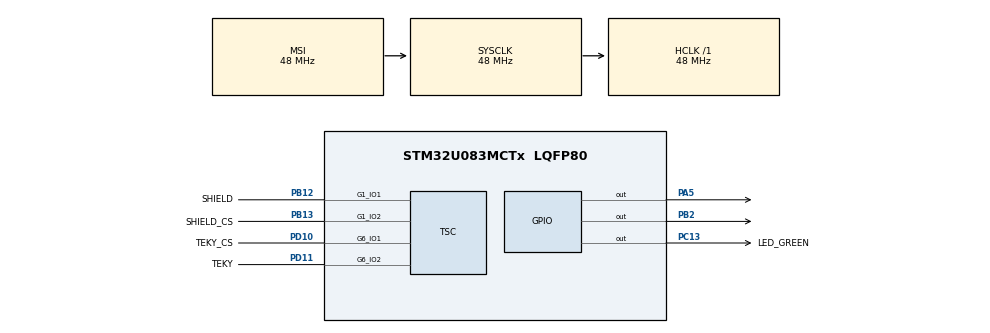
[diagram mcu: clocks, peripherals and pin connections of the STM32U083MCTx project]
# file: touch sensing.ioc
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Mcu.Family=STM32U0
Mcu.Name=STM32U083MCTx
Mcu.Package=LQFP80
NVIC.PriorityGroup=NVIC_PRIORITYGROUP_2
NVIC.TSC_IRQn=true\:0\:0\:false\:false\:true\:true\:true\:true
PA10.GPIO_Label=COM2
PA10.Signal=LCD_COM2
PA11\ [PA9].GPIO_Label=USB_DM
PA11\ [PA9].Signal=USB_DM
PA12\ [PA10].GPIO_Label=USB_DP
PA12\ [PA10].Signal=USB_DP
PA13\ (SWDIO).GPIO_Label=SWDIO
PA13\ (SWDIO).Signal=DEBUG_JTMS-SWDIO
PA14\ (SWCLK).GPIO_Label=SWCLK
PA14\ (SWCLK).Signal=DEBUG_JTCK-SWCLK
PA2.GPIO_Label=VCP_TX
PA2.Signal=USART2_TX
PA3.GPIO_Label=VCP_RX
PA3.Signal=USART2_RX
PA5.Signal=GPIO_Output
PA8.GPIO_Label=COM0
PA8.Signal=LCD_COM0
PA9.GPIO_Label=COM1
PA9.Signal=LCD_COM1
PB1.GPIO_Label=SEG2
PB1.Signal=LCD_SEG6
PB11.GPIO_Label=SEG6
PB11.Signal=LCD_SEG11
PB12.GPIO_Label=SHIELD
PB12.Mode=G1_IO1-Shield
PB12.Signal=TSC_G1_IO1
PB13.GPIO_Label=SHIELD_CS
PB13.Mode=G1_IO2-Sampling
PB13.Signal=TSC_G1_IO2
PB14.GPIO_Label=SEG7
PB14.Signal=LCD_SEG14
PB15.GPIO_Label=SEG8
PB15.Signal=LCD_SEG15
PB2.Signal=GPIO_Output
PB7.GPIO_Label=SDA
PB7.Signal=I2C1_SDA
PB8.GPIO_Label=SCL
PB8.Signal=I2C1_SCL
PB9.GPIO_Label=COM3
PB9.Signal=LCD_COM3
PC10.GPIO_Label=SEG16
PC10.Signal=LCD_SEG48
PC11.GPIO_Label=SEG23
PC11.Signal=LCD_SEG49
PC13.GPIO_Label=LED_GREEN
PC13.Signal=GPIO_Output
PC14-OSC32_IN.GPIO_Label=OSC32_IN
PC14-OSC32_IN.Signal=RCC_OSC32_IN
PC15-OSC32_OUT.GPIO_Label=OSC32_OUT
PC15-OSC32_OUT.Signal=RCC_OSC32_OUT
PC2.GPIO_Label=Joystick
PC2.Signal=ADC1_IN2
PC4.GPIO_Label=SEG0
PC4.Signal=LCD_SEG22
PC5.GPIO_Label=SEG1
PC5.Signal=LCD_SEG23
PC6.GPIO_Label=SEG13
PC6.Signal=LCD_SEG24
PC8.GPIO_Label=SEG14
PC8.Signal=LCD_SEG26
PC9.GPIO_Label=SEG15
PC9.Signal=LCD_SEG27
PD0.GPIO_Label=SEG17
PD0.Signal=LCD_SEG34
PD1.GPIO_Label=SEG18
PD1.Signal=LCD_SEG35
PD10.GPIO_Label=TEKY_CS
PD10.Mode=G6_IO1-Sampling
PD10.Signal=TSC_G6_IO1
PD11.GPIO_Label=TEKY
PD11.Mode=G6_IO2-Channel
PD11.Signal=TSC_G6_IO2
PD12.GPIO_Label=SEG11
PD12.Signal=LCD_SEG32
PD13.GPIO_Label=SEG12
PD13.Signal=LCD_SEG33
PD3.GPIO_Label=SEG19
PD3.Signal=LCD_SEG36
PD4.GPIO_Label=SEG20
PD4.Signal=LCD_SEG37
PD5.GPIO_Label=SEG21
PD5.Signal=LCD_SEG38
PD6.GPIO_Label=SEG22
PD6.Signal=LCD_SEG39
PD8.GPIO_Label=SEG9
PD8.Signal=LCD_SEG28
PD9.GPIO_Label=SEG10
PD9.Signal=LCD_SEG29
PE7.GPIO_Label=SEG3
PE7.Signal=LCD_SEG45
PE8.GPIO_Label=SEG4
PE8.Signal=LCD_SEG46
PE9.GPIO_Label=SEG5
PE9.Signal=LCD_SEG47
PF0-OSC_IN.GPIO_Label=OSC_IN
PF0-OSC_IN.Signal=RCC_OSC_IN
PF1-OSC_OUT.GPIO_Label=OSC_OUT
PF1-OSC_OUT.Signal=RCC_OSC_OUT
ProjectManager.HeapSize=0x200
ProjectManager.StackSize=0x400
ProjectManager.TargetToolchain=STM32CubeIDE
RCC.ADCFreq_Value=48000000
RCC.AHBFreq_Value=48000000
RCC.CortexFreq_Value=48000000
RCC.HCLKFreq_Value=48000000
RCC.HSE_VALUE=4000000
RCC.HSI48_VALUE=48000000
RCC.HSI_VALUE=16000000
RCC.LSE_VALUE=32768
RCC.MSIClockRangeVal=RCC_MSIRANGE_11
RCC.MSI_VALUE=48000000
RCC.SYSCLKFreq_VALUE=48000000
RCC.SYSCLKSource=RCC_SYSCLKSOURCE_MSI
RCC.USBFreq_Value=48000000
RCC.VCOOutputFreq_Value=64000000
TOUCHSENSING.IO_TOUCHKEY1=G6_IO2
TOUCHSENSING.TSLPRM_ACQ_MIN=5
TOUCHSENSING.TSLPRM_SENSORS_DATAS=TSLPRM_TOTAL_TOUCHKEYS 1 1 
TOUCHSENSING.TSLPRM_TKEY_CALIB_TH=90
TOUCHSENSING.TSLPRM_TKEY_DETECT_IN_TH=255
TOUCHSENSING.TSLPRM_TKEY_DETECT_OUT_TH=200
TOUCHSENSING.TSLPRM_TOTAL_TOUCHKEYS=1
TOUCHSENSING.TSLPRM_USE_PROX=0
TSC.CTPulseHighLength=TSC_CTPH_6CYCLES
TSC.CTPulseLowLength=TSC_CTPL_6CYCLES
TSC.ChannelIOs-G6_IO2-Channel=TSC_GROUP6_IO2
TSC.MaxCountValue=TSC_MCV_16383
TSC.SamplingIOs-G1_IO2-Sampling=TSC_GROUP1_IO2
TSC.SamplingIOs-G6_IO1-Sampling=TSC_GROUP6_IO1
TSC.ShieldIOs-G1_IO1-Shield=TSC_GROUP1_IO1
VP_PWR_VS_SECSignals.Mode=Security/Privilege
VP_TOUCHSENSING_VS_TOUCHSENSING.Mode=TouchSensing_Enabled
board=STM32U083C-DK

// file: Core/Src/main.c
/* USER CODE BEGIN Header */
/**
  ******************************************************************************
  * @file           : main.c
  * @brief          : Main program body
  ******************************************************************************
  * @attention
  *
  * Copyright (c) 2024 STMicroelectronics.
  * All rights reserved.
  *
  * This software is licensed under terms that can be found in the LICENSE file
  * in the root directory of this software component.
  * If no LICENSE file comes with this software, it is provided AS-IS.
  *
  ******************************************************************************
  */
/* USER CODE END Header */
#include "main.h"
#include "touchsensing.h"

/* USER CODE BEGIN Includes */
#include "tsl.h"
/* USER CODE END Includes */

TSC_HandleTypeDef htsc;

/* USER CODE BEGIN PV */
void Process_Sensors(tsl_user_status_t status);
/* USER CODE END PV */

void SystemClock_Config(void);
static void MX_GPIO_Init(void);
static void MX_TSC_Init(void);

int main(void)
{

  /* USER CODE BEGIN 1 */
tsl_user_status_t tsl_status;
  /* USER CODE END 1 */

  /* MCU Configuration--------------------------------------------------------*/

  /* Reset of all peripherals, Initializes the Flash interface and the Systick. */
  HAL_Init();

  /* Configure the system clock */
  SystemClock_Config();

  /* Initialize all configured peripherals */
  MX_GPIO_Init();
  MX_TSC_Init();
  MX_TOUCHSENSING_Init();
  /* USER CODE BEGIN 2 */
tsl_user_Init();
  /* USER CODE END 2 */

  /* Infinite loop */
  while (1)
  {

    /* USER CODE BEGIN 3 */
	  tsl_status = tsl_user_Exec();
	  if(tsl_status != TSL_USER_STATUS_BUSY)
	  {
		  Process_Sensors(tsl_status);
		  HAL_Delay(100);
	  }

  }
  /* USER CODE END 3 */
}

void SystemClock_Config(void)
{
  RCC_OscInitTypeDef RCC_OscInitStruct = {0};
  RCC_ClkInitTypeDef RCC_ClkInitStruct = {0};

  /** Configure the main internal regulator output voltage
  */
  HAL_PWREx_ControlVoltageScaling(PWR_REGULATOR_VOLTAGE_SCALE1);

  /** Initializes the RCC Oscillators according to the specified parameters
  * in the RCC_OscInitTypeDef structure.
  */
  RCC_OscInitStruct.OscillatorType = RCC_OSCILLATORTYPE_MSI;
  RCC_OscInitStruct.MSIState = RCC_MSI_ON;
  RCC_OscInitStruct.MSICalibrationValue = RCC_MSICALIBRATION_DEFAULT;
  RCC_OscInitStruct.MSIClockRange = RCC_MSIRANGE_11;
  RCC_OscInitStruct.PLL.PLLState = RCC_PLL_NONE;
  if (HAL_RCC_OscConfig(&RCC_OscInitStruct) != HAL_OK)
  {
    Error_Handler();
  }

  /** Initializes the CPU, AHB and APB buses clocks
  */
  RCC_ClkInitStruct.ClockType = RCC_CLOCKTYPE_HCLK|RCC_CLOCKTYPE_SYSCLK
                              |RCC_CLOCKTYPE_PCLK1;
  RCC_ClkInitStruct.SYSCLKSource = RCC_SYSCLKSOURCE_MSI;
  RCC_ClkInitStruct.AHBCLKDivider = RCC_SYSCLK_DIV1;
  RCC_ClkInitStruct.APB1CLKDivider = RCC_HCLK_DIV1;

  if (HAL_RCC_ClockConfig(&RCC_ClkInitStruct, FLASH_LATENCY_1) != HAL_OK)
  {
    Error_Handler();
  }
}

static void MX_TSC_Init(void)
{

  /** Configure the TSC peripheral
  */
  htsc.Instance = TSC;
  htsc.Init.CTPulseHighLength = TSC_CTPH_6CYCLES;
  htsc.Init.CTPulseLowLength = TSC_CTPL_6CYCLES;
  htsc.Init.SpreadSpectrum = DISABLE;
  htsc.Init.SpreadSpectrumDeviation = 1;
  htsc.Init.SpreadSpectrumPrescaler = TSC_SS_PRESC_DIV1;
  htsc.Init.PulseGeneratorPrescaler = TSC_PG_PRESC_DIV4;
  htsc.Init.MaxCountValue = TSC_MCV_16383;
  htsc.Init.IODefaultMode = TSC_IODEF_OUT_PP_LOW;
  htsc.Init.SynchroPinPolarity = TSC_SYNC_POLARITY_FALLING;
  htsc.Init.AcquisitionMode = TSC_ACQ_MODE_NORMAL;
  htsc.Init.MaxCountInterrupt = DISABLE;
  htsc.Init.ShieldIOs = TSC_GROUP1_IO1;
  htsc.Init.ChannelIOs = TSC_GROUP6_IO2;
  htsc.Init.SamplingIOs = TSC_GROUP1_IO2|TSC_GROUP6_IO1;
  if (HAL_TSC_Init(&htsc) != HAL_OK)
  {
    Error_Handler();
  }
  HAL_SYSCFG_DisableTSCComparatorMode();

}

static void MX_GPIO_Init(void)
{
  GPIO_InitTypeDef GPIO_InitStruct = {0};

  /* GPIO Ports Clock Enable */
  __HAL_RCC_GPIOC_CLK_ENABLE();
  __HAL_RCC_GPIOF_CLK_ENABLE();
  __HAL_RCC_GPIOA_CLK_ENABLE();
  __HAL_RCC_GPIOB_CLK_ENABLE();
  __HAL_RCC_GPIOE_CLK_ENABLE();
  __HAL_RCC_GPIOD_CLK_ENABLE();

  /*Configure GPIO pin Output Level */
  HAL_GPIO_WritePin(LED_GREEN_GPIO_Port, LED_GREEN_Pin, GPIO_PIN_RESET);

  /*Configure GPIO pin Output Level */
  HAL_GPIO_WritePin(GPIOA, GPIO_PIN_5, GPIO_PIN_RESET);

  /*Configure GPIO pin Output Level */
  HAL_GPIO_WritePin(GPIOB, GPIO_PIN_2, GPIO_PIN_RESET);

  /*Configure GPIO pin : LED_GREEN_Pin */
  GPIO_InitStruct.Pin = LED_GREEN_Pin;
  GPIO_InitStruct.Mode = GPIO_MODE_OUTPUT_PP;
  GPIO_InitStruct.Pull = GPIO_NOPULL;
  GPIO_InitStruct.Speed = GPIO_SPEED_FREQ_LOW;
  HAL_GPIO_Init(LED_GREEN_GPIO_Port, &GPIO_InitStruct);

  /*Configure GPIO pin : Joystick_Pin */
  GPIO_InitStruct.Pin = Joystick_Pin;
  GPIO_InitStruct.Mode = GPIO_MODE_ANALOG;
  GPIO_InitStruct.Pull = GPIO_NOPULL;
  HAL_GPIO_Init(Joystick_GPIO_Port, &GPIO_InitStruct);

  /*Configure GPIO pins : VCP_TX_Pin VCP_RX_Pin */
  GPIO_InitStruct.Pin = VCP_TX_Pin|VCP_RX_Pin;
  GPIO_InitStruct.Mode = GPIO_MODE_AF_PP;
  GPIO_InitStruct.Pull = GPIO_NOPULL;
  GPIO_InitStruct.Speed = GPIO_SPEED_FREQ_LOW;
  GPIO_InitStruct.Alternate = GPIO_AF7_USART2;
  HAL_GPIO_Init(GPIOA, &GPIO_InitStruct);

  /*Configure GPIO pin : PA5 */
  GPIO_InitStruct.Pin = GPIO_PIN_5;
  GPIO_InitStruct.Mode = GPIO_MODE_OUTPUT_PP;
  GPIO_InitStruct.Pull = GPIO_NOPULL;
  GPIO_InitStruct.Speed = GPIO_SPEED_FREQ_LOW;
  HAL_GPIO_Init(GPIOA, &GPIO_InitStruct);

  /*Configure GPIO pins : SEG0_Pin SEG1_Pin SEG13_Pin SEG14_Pin
                           SEG15_Pin SEG16_Pin SEG23_Pin */
  GPIO_InitStruct.Pin = SEG0_Pin|SEG1_Pin|SEG13_Pin|SEG14_Pin
                          |SEG15_Pin|SEG16_Pin|SEG23_Pin;
  GPIO_InitStruct.Mode = GPIO_MODE_AF_PP;
  GPIO_InitStruct.Pull = GPIO_NOPULL;
  GPIO_InitStruct.Speed = GPIO_SPEED_FREQ_LOW;
  GPIO_InitStruct.Alternate = GPIO_AF11_LCD;
  HAL_GPIO_Init(GPIOC, &GPIO_InitStruct);

  /*Configure GPIO pins : SEG2_Pin SEG6_Pin SEG7_Pin SEG8_Pin
                           COM3_Pin */
  GPIO_InitStruct.Pin = SEG2_Pin|SEG6_Pin|SEG7_Pin|SEG8_Pin
                          |COM3_Pin;
  GPIO_InitStruct.Mode = GPIO_MODE_AF_PP;
  GPIO_InitStruct.Pull = GPIO_NOPULL;
  GPIO_InitStruct.Speed = GPIO_SPEED_FREQ_LOW;
  GPIO_InitStruct.Alternate = GPIO_AF11_LCD;
  HAL_GPIO_Init(GPIOB, &GPIO_InitStruct);

  /*Configure GPIO pin : PB2 */
  GPIO_InitStruct.Pin = GPIO_PIN_2;
  GPIO_InitStruct.Mode = GPIO_MODE_OUTPUT_PP;
  GPIO_InitStruct.Pull = GPIO_NOPULL;
  GPIO_InitStruct.Speed = GPIO_SPEED_FREQ_LOW;
  HAL_GPIO_Init(GPIOB, &GPIO_InitStruct);

  /*Configure GPIO pins : SEG3_Pin SEG4_Pin SEG5_Pin */
  GPIO_InitStruct.Pin = SEG3_Pin|SEG4_Pin|SEG5_Pin;
  GPIO_InitStruct.Mode = GPIO_MODE_AF_PP;
  GPIO_InitStruct.Pull = GPIO_NOPULL;
  GPIO_InitStruct.Speed = GPIO_SPEED_FREQ_LOW;
  GPIO_InitStruct.Alternate = GPIO_AF11_LCD;
  HAL_GPIO_Init(GPIOE, &GPIO_InitStruct);

  /*Configure GPIO pins : SEG9_Pin SEG10_Pin SEG11_Pin SEG12_Pin
                           SEG17_Pin SEG18_Pin SEG19_Pin SEG20_Pin
                           SEG21_Pin SEG22_Pin */
  GPIO_InitStruct.Pin = SEG9_Pin|SEG10_Pin|SEG11_Pin|SEG12_Pin
                          |SEG17_Pin|SEG18_Pin|SEG19_Pin|SEG20_Pin
                          |SEG21_Pin|SEG22_Pin;
  GPIO_InitStruct.Mode = GPIO_MODE_AF_PP;
  GPIO_InitStruct.Pull = GPIO_NOPULL;
  GPIO_InitStruct.Speed = GPIO_SPEED_FREQ_LOW;
  GPIO_InitStruct.Alternate = GPIO_AF11_LCD;
  HAL_GPIO_Init(GPIOD, &GPIO_InitStruct);

  /*Configure GPIO pins : COM0_Pin COM1_Pin COM2_Pin */
  GPIO_InitStruct.Pin = COM0_Pin|COM1_Pin|COM2_Pin;
  GPIO_InitStruct.Mode = GPIO_MODE_AF_PP;
  GPIO_InitStruct.Pull = GPIO_NOPULL;
  GPIO_InitStruct.Speed = GPIO_SPEED_FREQ_LOW;
  GPIO_InitStruct.Alternate = GPIO_AF11_LCD;
  HAL_GPIO_Init(GPIOA, &GPIO_InitStruct);

  /*Configure GPIO pins : USB_DM_Pin USB_DP_Pin */
  GPIO_InitStruct.Pin = USB_DM_Pin|USB_DP_Pin;
  GPIO_InitStruct.Mode = GPIO_MODE_AF_PP;
  GPIO_InitStruct.Pull = GPIO_NOPULL;
  GPIO_InitStruct.Speed = GPIO_SPEED_FREQ_LOW;
  HAL_GPIO_Init(GPIOA, &GPIO_InitStruct);

  /*Configure GPIO pins : SDA_Pin SCL_Pin */
  GPIO_InitStruct.Pin = SDA_Pin|SCL_Pin;
  GPIO_InitStruct.Mode = GPIO_MODE_AF_OD;
  GPIO_InitStruct.Pull = GPIO_NOPULL;
  GPIO_InitStruct.Speed = GPIO_SPEED_FREQ_LOW;
  GPIO_InitStruct.Alternate = GPIO_AF4_I2C1;
  HAL_GPIO_Init(GPIOB, &GPIO_InitStruct);

}

/* USER CODE BEGIN 4 */

void Process_Sensors(tsl_user_status_t status)
{
	if(MyTKeys[0].p_Data->StateId == TSL_STATEID_DETECT)
	{
		HAL_GPIO_WritePin(GPIOA,GPIO_PIN_5,GPIO_PIN_SET);

	}
	else
	{
		HAL_GPIO_WritePin(GPIOA,GPIO_PIN_5,GPIO_PIN_RESET);

	}

	switch(status)
	{
	case TSL_USER_STATUS_OK_ECS_OFF:
		HAL_GPIO_WritePin(GPIOB,GPIO_PIN_2,GPIO_PIN_RESET);
			break;
	case TSL_USER_STATUS_OK_ECS_ON:
		HAL_GPIO_TogglePin(GPIOB,GPIO_PIN_2);
					break;
	default:
		break;

	}
}

/* USER CODE END 4 */

void Error_Handler(void)
{
  __disable_irq();
  while (1)
  {
  }
}
